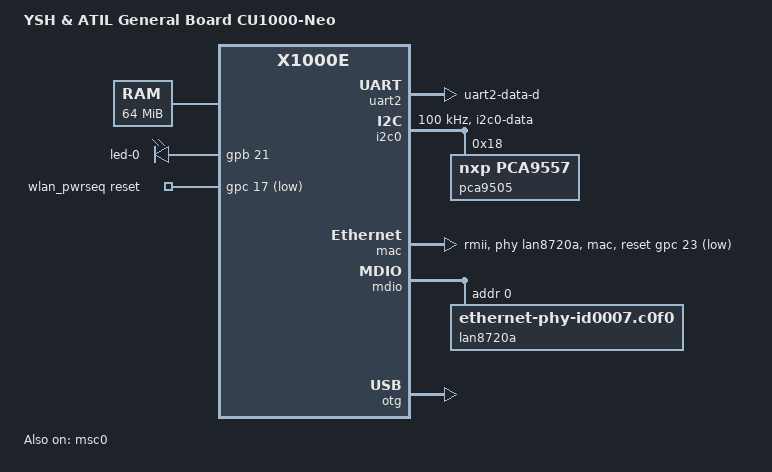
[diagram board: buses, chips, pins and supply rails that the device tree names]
// SPDX-License-Identifier: GPL-2.0
/dts-v1/;

#include "x1000.dtsi"
#include <dt-bindings/gpio/gpio.h>
#include <dt-bindings/clock/ingenic,sysost.h>
#include <dt-bindings/interrupt-controller/irq.h>

/ {
	compatible = "yna,cu1000-neo", "ingenic,x1000e";
	model = "YSH & ATIL General Board CU1000-Neo";

	aliases {
		serial2 = &uart2;
	};

	chosen {
		stdout-path = "serial2:115200n8";
	};

	memory {
		device_type = "memory";
		reg = <0x0 0x04000000>;
	};

	leds {
		compatible = "gpio-leds";
		led-0 {
			gpios = <&gpb 21 GPIO_ACTIVE_HIGH>;
			linux,default-trigger = "mmc0";
		};
	};

	wlan_pwrseq: msc1-pwrseq {
		compatible = "mmc-pwrseq-simple";

		reset-gpios = <&gpc 17 GPIO_ACTIVE_LOW>;
		post-power-on-delay-ms = <200>;
	};

};

&exclk {
	clock-frequency = <24000000>;
};

&cgu {
	/*
	 * We use a rate of 600 MHz for MPLL, put the DDR under MPLL, and use
	 * a rate of 200 MHz for DDR.
	 * Use the 32.768 kHz oscillator as the parent of the RTC for a higher
	 * precision.
	 */
	assigned-clocks =
		<&cgu X1000_CLK_MPLL>,
		<&cgu X1000_CLK_DDR>,
		<&cgu X1000_CLK_RTC>;
	assigned-clock-parents =
		<0>,
		<&cgu X1000_CLK_MPLL>,
		<&cgu X1000_CLK_RTCLK>;
	assigned-clock-rates =
		<600000000>,
		<200000000>;
};

&ost {
	/* 1500 kHz for the system timer and clocksource */
	assigned-clocks = <&ost OST_CLK_PERCPU_TIMER>, <&ost OST_CLK_GLOBAL_TIMER>;
	assigned-clock-rates = <1500000>, <1500000>;
};

&uart2 {
	status = "okay";

	pinctrl-names = "default";
	pinctrl-0 = <&pins_uart2>;
};


&i2c0 {
	status = "okay";

	clock-frequency = <100000>;

	pinctrl-names = "default";
	pinctrl-0 = <&pins_i2c0>;

	pca9505: expgpio@18 {
		compatible = "nxp,pca9557";
		reg = <0x18>;

		/*interrupt-parent = <&gpc>;
		interrupts = <17 IRQ_TYPE_LEVEL_LOW>;*/
		
	};
	
};

&msc0 {
	status = "okay";

	bus-width = <8>;
	max-frequency = <50000000>;

	pinctrl-names = "default";
	pinctrl-0 = <&pins_msc0>;

	non-removable;
};

&mac {
	status = "okay";

	phy-mode = "rmii";
	phy-handle = <&lan8720a>;

	pinctrl-names = "default";
	pinctrl-0 = <&pins_mac>;

	snps,reset-gpio = <&gpc 23 GPIO_ACTIVE_LOW>; /* PC23 */
	snps,reset-active-low;
	snps,reset-delays-us = <0 10000 30000>;
};

&mdio {
	status = "okay";

	lan8720a: ethernet-phy@0 {
		compatible = "ethernet-phy-id0007.c0f0", "ethernet-phy-ieee802.3-c22";
		reg = <0>;
	};
};

&otg {
	status = "okay";
};

&pinctrl {
	pins_uart2: uart2 {
		function = "uart2";
		groups = "uart2-data-d";
		bias-pull-up;
	};

	pins_i2c0: i2c0 {
		function = "i2c0";
		groups = "i2c0-data";
		bias-pull-up;
	};

	pins_msc0: msc0 {
		function = "mmc0";
		groups = "mmc0-1bit", "mmc0-4bit", "mmc0-8bit";
		bias-disable;
	};

	pins_mac: mac {
		function = "mac";
		groups = "mac";
		bias-disable;
	};
};
